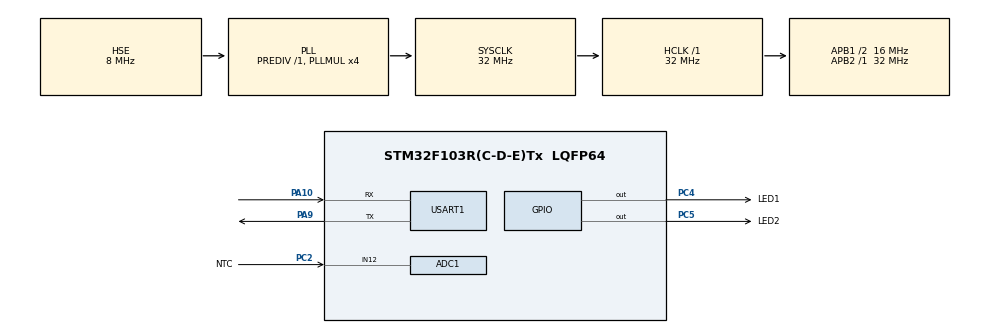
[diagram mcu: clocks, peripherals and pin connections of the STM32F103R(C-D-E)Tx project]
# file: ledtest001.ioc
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ADC1.Channel-0\#ChannelRegularConversion=ADC_CHANNEL_12
ADC1.NbrOfConversionFlag=1
ADC1.Rank-0\#ChannelRegularConversion=1
ADC1.SamplingTime-0\#ChannelRegularConversion=ADC_SAMPLETIME_1CYCLE_5
ADC1.master=1
Mcu.Family=STM32F1
Mcu.Name=STM32F103R(C-D-E)Tx
Mcu.Package=LQFP64
NVIC.ADC1_2_IRQn=true\:0\:0\:false\:false\:true\:true\:true
NVIC.PriorityGroup=NVIC_PRIORITYGROUP_4
NVIC.USART1_IRQn=true\:0\:0\:false\:false\:true\:true\:true
PA10.Mode=Asynchronous
PA10.Signal=USART1_RX
PA13.Mode=JTAG_4_pins
PA13.Signal=SYS_JTMS-SWDIO
PA14.Mode=JTAG_4_pins
PA14.Signal=SYS_JTCK-SWCLK
PA15.Mode=JTAG_4_pins
PA15.Signal=SYS_JTDI
PA9.Mode=Asynchronous
PA9.Signal=USART1_TX
PB3.Mode=JTAG_4_pins
PB3.Signal=SYS_JTDO-TRACESWO
PC2.GPIO_Label=NTC
PC2.Signal=ADCx_IN12
PC4.GPIO_Label=LED1
PC4.Signal=GPIO_Output
PC5.GPIO_Label=LED2
PC5.Signal=GPIO_Output
PD0-OSC_IN.Mode=HSE-External-Oscillator
PD0-OSC_IN.Signal=RCC_OSC_IN
PD1-OSC_OUT.Mode=HSE-External-Oscillator
PD1-OSC_OUT.Signal=RCC_OSC_OUT
ProjectManager.HeapSize=0x200
ProjectManager.StackSize=0x400
ProjectManager.TargetToolchain=MDK-ARM V5.27
RCC.ADCPresc=RCC_ADCPCLK2_DIV4
RCC.AHBFreq_Value=32000000
RCC.APB1CLKDivider=RCC_HCLK_DIV2
RCC.APB1Freq_Value=16000000
RCC.APB1TimFreq_Value=32000000
RCC.APB2Freq_Value=32000000
RCC.APB2TimFreq_Value=32000000
RCC.HCLKFreq_Value=32000000
RCC.PLLMUL=RCC_PLL_MUL4
RCC.PLLSourceVirtual=RCC_PLLSOURCE_HSE
RCC.SYSCLKFreq_VALUE=32000000
RCC.SYSCLKSource=RCC_SYSCLKSOURCE_PLLCLK
RCC.USBFreq_Value=32000000
SH.ADCx_IN12.0=ADC1_IN12,IN12
USART1.VirtualMode=VM_ASYNC
board=custom

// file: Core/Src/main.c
/* USER CODE BEGIN Header */
/**
  ******************************************************************************
  * @file           : main.c
  * @brief          : Main program body
  ******************************************************************************
  * @attention
  *
  * <h2><center>&copy; Copyright (c) 2021 STMicroelectronics.
  * All rights reserved.</center></h2>
  *
  * This software component is licensed by ST under BSD 3-Clause license,
  * the "License"; You may not use this file except in compliance with the
  * License. You may obtain a copy of the License at:
  *                        opensource.org/licenses/BSD-3-Clause
  *
  ******************************************************************************
  */
/* USER CODE END Header */
#include "main.h"
#include "adc.h"
#include "usart.h"
#include "gpio.h"

void SystemClock_Config(void);

int main(void)
{
  /* USER CODE BEGIN 1 */
	int n_buf;

  /* USER CODE END 1 */

  /* MCU Configuration--------------------------------------------------------*/

  /* Reset of all peripherals, Initializes the Flash interface and the Systick. */
  HAL_Init();

  /* Configure the system clock */
  SystemClock_Config();

  /* Initialize all configured peripherals */
  MX_GPIO_Init();
  MX_USART1_UART_Init();
  MX_ADC1_Init();

  /* Infinite loop */
  /* USER CODE BEGIN WHILE */
	printf("这是一个STM32F103RCT6开发板点亮LED灯的代码!!!\r\n");

  while (1)
  {
	//	HAL_GPIO_TogglePin(GPIOC,GPIO_PIN_4);
		HAL_GPIO_WritePin(GPIOC,GPIO_PIN_4,GPIO_PIN_RESET);
	  HAL_GPIO_WritePin(GPIOC,GPIO_PIN_5,GPIO_PIN_RESET);
	 	printf("请输入你想要执行的操作:\r\n");
    printf("1、点亮LED1\r\n");
		printf("2、点亮LED2\r\n");
		printf("3、让LED交替闪烁一段时间\r\n");
		//HAL_UART_Receive_IT(&huart1,(uint8_t *)n_buf, 1);
		scanf("%d",&n_buf);
		printf("接收到的数据为%d\r\n",n_buf);
		switch(n_buf)
		{
			case 1:
				HAL_GPIO_WritePin(GPIOC,GPIO_PIN_4,GPIO_PIN_RESET);
	    	HAL_GPIO_WritePin(GPIOC,GPIO_PIN_5,GPIO_PIN_RESET);
			  HAL_GPIO_WritePin(GPIOC,GPIO_PIN_4,GPIO_PIN_SET);
		  	printf("LED1已经被点亮\r\n");
			  HAL_Delay(10000);
				break;
			case 2:
				HAL_GPIO_WritePin(GPIOC,GPIO_PIN_4,GPIO_PIN_RESET);
	    	HAL_GPIO_WritePin(GPIOC,GPIO_PIN_5,GPIO_PIN_RESET);
			  HAL_GPIO_WritePin(GPIOC,GPIO_PIN_5,GPIO_PIN_SET);
		  	printf("LED2已经被点亮\r\n");
		  	HAL_Delay(10000);
				break;
			case 3:
				printf("进入LED交替闪烁模式\r\n");
			  for(int i=0;i<5;i++)
			   {
			     HAL_GPIO_WritePin(GPIOC,GPIO_PIN_4,GPIO_PIN_RESET);
			     HAL_GPIO_WritePin(GPIOC,GPIO_PIN_5,GPIO_PIN_RESET);
					 HAL_GPIO_WritePin(GPIOC,GPIO_PIN_4,GPIO_PIN_SET);
			     HAL_GPIO_WritePin(GPIOC,GPIO_PIN_5,GPIO_PIN_RESET);
					 HAL_Delay(1000);
					 HAL_GPIO_WritePin(GPIOC,GPIO_PIN_5,GPIO_PIN_SET);
			     HAL_GPIO_WritePin(GPIOC,GPIO_PIN_4,GPIO_PIN_RESET);
					 HAL_Delay(1000);

		  	 }
				 break;
		}

//	 	HAL_GPIO_WritePin(GPIOC,GPIO_PIN_4,GPIO_PIN_RESET);
//		HAL_GPIO_WritePin(GPIOC,GPIO_PIN_5,GPIO_PIN_SET);
//		HAL_Delay(1000);
//		HAL_GPIO_WritePin(GPIOC,GPIO_PIN_5,GPIO_PIN_RESET);
//		HAL_GPIO_WritePin(GPIOC,GPIO_PIN_4,GPIO_PIN_SET);
//  	HAL_Delay(1000);
		//HAL_GPIO_WritePin(GPIOC,GPIO_PIN_4,GPIO_PIN_RESET);
    /* USER CODE END WHILE */

  }
}

void SystemClock_Config(void)
{
  RCC_OscInitTypeDef RCC_OscInitStruct = {0};
  RCC_ClkInitTypeDef RCC_ClkInitStruct = {0};
  RCC_PeriphCLKInitTypeDef PeriphClkInit = {0};

  /** Initializes the RCC Oscillators according to the specified parameters
  * in the RCC_OscInitTypeDef structure.
  */
  RCC_OscInitStruct.OscillatorType = RCC_OSCILLATORTYPE_HSE;
  RCC_OscInitStruct.HSEState = RCC_HSE_ON;
  RCC_OscInitStruct.HSEPredivValue = RCC_HSE_PREDIV_DIV1;
  RCC_OscInitStruct.HSIState = RCC_HSI_ON;
  RCC_OscInitStruct.PLL.PLLState = RCC_PLL_ON;
  RCC_OscInitStruct.PLL.PLLSource = RCC_PLLSOURCE_HSE;
  RCC_OscInitStruct.PLL.PLLMUL = RCC_PLL_MUL4;
  if (HAL_RCC_OscConfig(&RCC_OscInitStruct) != HAL_OK)
  {
    Error_Handler();
  }
  /** Initializes the CPU, AHB and APB buses clocks
  */
  RCC_ClkInitStruct.ClockType = RCC_CLOCKTYPE_HCLK|RCC_CLOCKTYPE_SYSCLK
                              |RCC_CLOCKTYPE_PCLK1|RCC_CLOCKTYPE_PCLK2;
  RCC_ClkInitStruct.SYSCLKSource = RCC_SYSCLKSOURCE_PLLCLK;
  RCC_ClkInitStruct.AHBCLKDivider = RCC_SYSCLK_DIV1;
  RCC_ClkInitStruct.APB1CLKDivider = RCC_HCLK_DIV2;
  RCC_ClkInitStruct.APB2CLKDivider = RCC_HCLK_DIV1;

  if (HAL_RCC_ClockConfig(&RCC_ClkInitStruct, FLASH_LATENCY_1) != HAL_OK)
  {
    Error_Handler();
  }
  PeriphClkInit.PeriphClockSelection = RCC_PERIPHCLK_ADC;
  PeriphClkInit.AdcClockSelection = RCC_ADCPCLK2_DIV4;
  if (HAL_RCCEx_PeriphCLKConfig(&PeriphClkInit) != HAL_OK)
  {
    Error_Handler();
  }
}

void Error_Handler(void)
{
  __disable_irq();
  while (1)
  {
  }
}

/************************ (C) COPYRIGHT STMicroelectronics *****END OF FILE****/
